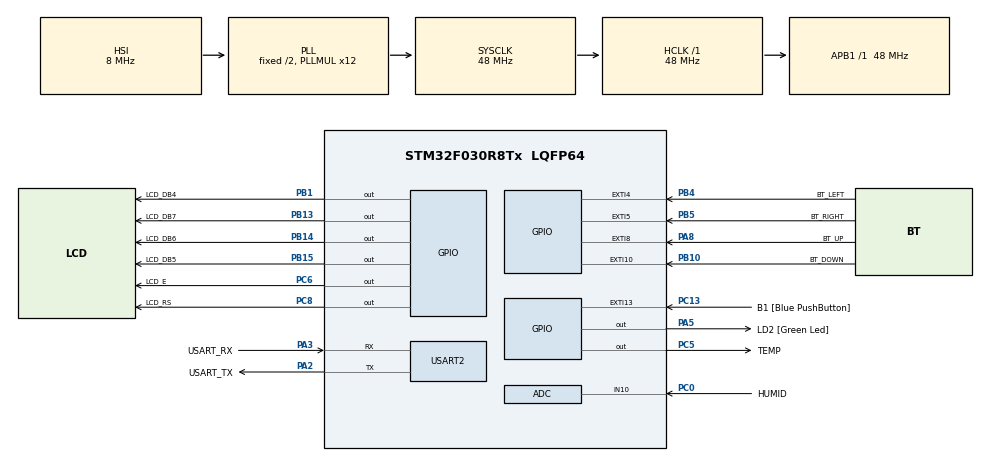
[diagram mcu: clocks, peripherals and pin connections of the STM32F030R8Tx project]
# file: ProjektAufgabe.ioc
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ADC.ContinuousConvMode=DISABLE
ADC.SamplingTime=ADC_SAMPLETIME_13CYCLES_5
Mcu.Family=STM32F0
Mcu.Name=STM32F030R8Tx
Mcu.Package=LQFP64
NVIC.EXTI4_15_IRQn=true\:0\:0\:false\:false\:true\:true\:true
NVIC.TIM6_IRQn=true\:0\:0\:false\:false\:true\:true\:true
PA13.GPIO_Label=TMS
PA13.Mode=Serial_Wire
PA13.Signal=SYS_SWDIO
PA14.GPIO_Label=TCK
PA14.Mode=Serial_Wire
PA14.Signal=SYS_SWCLK
PA2.GPIO_Label=USART_TX
PA2.GPIO_Mode=GPIO_MODE_AF_PP
PA2.GPIO_PuPd=GPIO_NOPULL
PA2.GPIO_Speed=GPIO_SPEED_FREQ_LOW
PA2.Mode=Asynchronous
PA2.Signal=USART2_TX
PA3.GPIO_Label=USART_RX
PA3.GPIO_Mode=GPIO_MODE_AF_PP
PA3.GPIO_PuPd=GPIO_NOPULL
PA3.GPIO_Speed=GPIO_SPEED_FREQ_LOW
PA3.Mode=Asynchronous
PA3.Signal=USART2_RX
PA5.GPIO_Label=LD2 [Green Led]
PA5.GPIO_Mode=GPIO_MODE_OUTPUT_PP
PA5.GPIO_PuPd=GPIO_NOPULL
PA5.GPIO_Speed=GPIO_SPEED_FREQ_LOW
PA5.Signal=GPIO_Output
PA8.GPIO_Label=BT_UP
PA8.GPIO_PuPd=GPIO_PULLDOWN
PA8.Signal=GPXTI8
PB1.GPIO_Label=LCD_DB4
PB1.Signal=GPIO_Output
PB10.GPIO_Label=BT_DOWN
PB10.GPIO_PuPd=GPIO_PULLDOWN
PB10.Signal=GPXTI10
PB13.GPIO_Label=LCD_DB7
PB13.Signal=GPIO_Output
PB14.GPIO_Label=LCD_DB6
PB14.Signal=GPIO_Output
PB15.GPIO_Label=LCD_DB5
PB15.Signal=GPIO_Output
PB4.GPIO_Label=BT_LEFT
PB4.GPIO_PuPd=GPIO_PULLDOWN
PB4.Signal=GPXTI4
PB5.GPIO_Label=BT_RIGHT
PB5.GPIO_PuPd=GPIO_PULLDOWN
PB5.Signal=GPXTI5
PC0.GPIO_Label=HUMID
PC0.Signal=SharedAnalog_PC0
PC13.GPIO_Label=B1 [Blue PushButton]
PC13.GPIO_ModeDefaultEXTI=GPIO_MODE_IT_FALLING
PC13.Signal=GPXTI13
PC14-OSC32_IN.Mode=LSE-External-Oscillator
PC14-OSC32_IN.Signal=RCC_OSC32_IN
PC15-OSC32_OUT.Mode=LSE-External-Oscillator
PC15-OSC32_OUT.Signal=RCC_OSC32_OUT
PC5.GPIO_Label=TEMP
PC5.PinState=GPIO_PIN_SET
PC5.Signal=GPIO_Output
PC6.GPIO_Label=LCD_E
PC6.Signal=GPIO_Output
PC8.GPIO_Label=LCD_RS
PC8.Signal=GPIO_Output
PF0-OSC_IN.Mode=HSE-External-Clock-Source
PF0-OSC_IN.Signal=RCC_OSC_IN
PF1-OSC_OUT.Signal=RCC_OSC_OUT
ProjectManager.HeapSize=0x200
ProjectManager.StackSize=0x400
ProjectManager.TargetToolchain=SW4STM32
RCC.AHBFreq_Value=48000000
RCC.APB1Freq_Value=48000000
RCC.APB1TimFreq_Value=48000000
RCC.HCLKFreq_Value=48000000
RCC.PLLMUL=RCC_PLL_MUL12
RCC.SYSCLKFreq_VALUE=48000000
RCC.SYSCLKSource=RCC_SYSCLKSOURCE_PLLCLK
SH.SharedAnalog_PC0.0=GPIO_Analog
SH.SharedAnalog_PC0.1=ADC_IN10,IN10
TIM14.AutoReloadPreload=TIM_AUTORELOAD_PRELOAD_DISABLE
TIM14.Period=0xFFFE
TIM14.Prescaler=47
TIM6.AutoReloadPreload=TIM_AUTORELOAD_PRELOAD_DISABLE
TIM6.Period=999
TIM6.Prescaler=47999
USART2.VirtualMode-Asynchronous=VM_ASYNC
VP_TIM14_VS_ClockSourceINT.Mode=Enable_Timer
VP_TIM6_VS_ClockSourceINT.Mode=Enable_Timer
board=NUCLEO-F030R8

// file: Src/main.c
/* USER CODE BEGIN Header */
/**
  ******************************************************************************
  * @Author			: Dmitrij Bauer
  * @file           : main.c
  * @brief          : Main program body
  ******************************************************************************
  * @attention
  *
  * <h2><center>&copy; Copyright (c) 2019 STMicroelectronics.
  * All rights reserved.</center></h2>
  *
  * This software component is licensed by ST under BSD 3-Clause license,
  * the "License"; You may not use this file except in compliance with the
  * License. You may obtain a copy of the License at:
  *                        opensource.org/licenses/BSD-3-Clause
  *
  ******************************************************************************
  */
/* USER CODE END Header */

#include "main.h"

/* USER CODE BEGIN Includes */
#include "lcdDisplay.h"
#include "controller.h"
#include "utils.h"
#include "oneWire.h"
/* USER CODE END Includes */

/* USER CODE BEGIN PD */
/**Anzahl der ms, die bis zum nächsten Tastendruck gewartet werden soll.*/
#define DEBOUNCE_INTERVAL 250

/**
 * Maximal Anzahl von ms, die beim Auslesen des ADC-Wertes gewartet werden soll.
 */
#define ADC_POLLING 10
/* USER CODE END PD */

/* USER CODE BEGIN PM */
/**
 * Bestimmt ob eine Taste wieder bereit ist.
 * @param currentTick	Anzahl der ms, die das System bereits läuft (>=0).
 * @param lastTick		Anzahl der ms, die beim letzten Tastendruck registriert wurden (>=0).
 * @return True, falls die tasten wieder aktiv ist. False andernfalls.
 */
#define BTN_IS_READY(currentTick, lastTick)((currentTick - lastTick) >= DEBOUNCE_INTERVAL ? True : False)
/* USER CODE END PM */

ADC_HandleTypeDef hadc;

TIM_HandleTypeDef htim6;
TIM_HandleTypeDef htim14;

UART_HandleTypeDef huart2;
/* USER CODE BEGIN PV */
Controller controller = {0};			//interner Zustand der Messtation
uint32_t adcResolution;					//max. Wert des ADC
/* USER CODE END PV */

void SystemClock_Config(void);
static void MX_GPIO_Init(void);
static void MX_USART2_UART_Init(void);
static void MX_TIM6_Init(void);
static void MX_TIM14_Init(void);
static void MX_ADC_Init(void);
/* USER CODE BEGIN PFP */

/**********Deklaration von privaten Funktionen**********/

/**
 * Initialisiert den Wert für die Bit-Breite der ADC-Ausgabe.
 * Diese Methode soll erst aufgerufen werden, wenn die Konfiguration des ADC
 * abgeschlossen ist.
 */
static void initADCResolutionValue();

/**
 * Liest den Wert des ADC aus.
 * Diese Methode verwendet beim Auslesen des Wertes aktives Warten,
 * welches das Hauptprogramm für max. <ADC_POLLING> ms blockieren kann.
 */
static uint32_t getAbsADCValue();
/* USER CODE END PFP */

/* USER CODE BEGIN 0 */

/**********Definition von Funktionen**********/

uint8_t HAL_readPin(GpioPin gpioPin){
	GPIO_PinState bit = HAL_GPIO_ReadPin(gpioPin.gpioPort, gpioPin.pin);
	if(bit == GPIO_PIN_RESET) return 0;
	else return 1;
}

void HAL_pinToOutput(GpioPin gpioPin){
	GPIO_InitTypeDef GPIO_InitStruct = {0};
	GPIO_InitStruct.Pin = gpioPin.pin;
	GPIO_InitStruct.Mode = GPIO_MODE_OUTPUT_PP;
	GPIO_InitStruct.Pull = GPIO_NOPULL;
	GPIO_InitStruct.Speed = GPIO_SPEED_FREQ_LOW;
	HAL_GPIO_Init(gpioPin.gpioPort, &GPIO_InitStruct);
}

void HAL_pinToInput(GpioPin gpioPin){
	GPIO_InitTypeDef GPIO_InitStruct = {0};
	GPIO_InitStruct.Pin = gpioPin.pin;
	GPIO_InitStruct.Mode = GPIO_MODE_INPUT;
	GPIO_InitStruct.Pull = GPIO_NOPULL;
	HAL_GPIO_Init(gpioPin.gpioPort, &GPIO_InitStruct);
}

void UART_log(char buffer[]){
	HAL_UART_Transmit(&huart2, (uint8_t*) buffer, strlen((char*)buffer), HAL_MAX_DELAY);
}

void waitUs(uint16_t us){
	__HAL_TIM_SET_COUNTER(&htim14, 0);
	while((__HAL_TIM_GET_COUNTER(&htim14)) < us);
}

void initTimer(){
	HAL_TIM_Base_Start_IT(&htim6); // Enable the timer
}

uint32_t getAbsADCValue(){
	HAL_ADC_Start(&hadc);
	HAL_ADC_PollForConversion(&hadc, ADC_POLLING);
	uint32_t value = HAL_ADC_GetValue(&hadc);
	HAL_ADC_Stop(&hadc);
	return value;
}

uint8_t getRelADCValue(){
	return PERCENT(getAbsADCValue(), adcResolution);
}

void initADCResolutionValue(){
	switch (hadc.Init.Resolution) {
		case ADC_RESOLUTION_6B:
			adcResolution = 64;
			break;
		case ADC_RESOLUTION_8B:
			adcResolution = 256;
			break;
		case ADC_RESOLUTION_10B:
			adcResolution = 1024;
			break;
		case ADC_RESOLUTION_12B:
			adcResolution = 4096;
			break;
		default:
			adcResolution = 4096;
			break;
	}
}

void HAL_setPin(GpioPin pin, uint8_t bit){
	switch (bit) {
		case 1:
			HAL_GPIO_WritePin(pin.gpioPort, pin.pin, GPIO_PIN_SET);
			break;
		case 0:
			HAL_GPIO_WritePin(pin.gpioPort, pin.pin, GPIO_PIN_RESET);
			break;
		default:
			break;
	}
}
/* USER CODE END 0 */

int main(void)
{
  /* USER CODE BEGIN 1 */
  //Initialisiere die Pin-Schnittstelle
  GpioPin db4Pin = {LCD_DB4_Pin, LCD_DB4_GPIO_Port};
  GpioPin db5Pin = {LCD_DB5_Pin, LCD_DB5_GPIO_Port};
  GpioPin db6Pin = {LCD_DB6_Pin, LCD_DB6_GPIO_Port};
  GpioPin db7Pin = {LCD_DB7_Pin, LCD_DB7_GPIO_Port};
  GpioPin ePin = {LCD_E_Pin, LCD_E_GPIO_Port};
  GpioPin rsPin = {LCD_RS_Pin, LCD_RS_GPIO_Port};
  GpioPin tempPin = {TEMP_Pin, TEMP_GPIO_Port};
  pinInterface.dataPins[0] = db4Pin;
  pinInterface.dataPins[1] = db5Pin;
  pinInterface.dataPins[2] = db6Pin;
  pinInterface.dataPins[3] = db7Pin;
  pinInterface.ePin = ePin;
  pinInterface.rsPin = rsPin;
  pinInterface.tempPin = tempPin;
  /* USER CODE END 1 */

  /* MCU Configuration--------------------------------------------------------*/

  /* Reset of all peripherals, Initializes the Flash interface and the Systick. */
  HAL_Init();

  /* Configure the system clock */
  SystemClock_Config();

  /* Initialize all configured peripherals */
  MX_GPIO_Init();
  MX_USART2_UART_Init();
  MX_TIM6_Init();
  MX_TIM14_Init();
  MX_ADC_Init();
  /* USER CODE BEGIN 2 */

  //Initialisiere alle Komponente der Messstation.
  initADCResolutionValue();
  HAL_TIM_Base_Start(&htim14); // Enable the us-timer
  initLcdDisplay();
  initController(&controller);
  /* USER CODE END 2 */
  /* Infinite loop */
  /* USER CODE BEGIN WHILE */
  while (1)
  {
	  update(&controller);		//Prüft und ändert ggf. den internen Zustand der Messstation.
    /* USER CODE END WHILE */

    /* USER CODE BEGIN 3 */
  }

  HAL_TIM_Base_Stop(&htim14);
  HAL_TIM_Base_Stop_IT(&htim6);
  /* USER CODE END 3 */
}

void SystemClock_Config(void)
{
  RCC_OscInitTypeDef RCC_OscInitStruct = {0};
  RCC_ClkInitTypeDef RCC_ClkInitStruct = {0};

  /** Initializes the CPU, AHB and APB busses clocks
  */
  RCC_OscInitStruct.OscillatorType = RCC_OSCILLATORTYPE_HSI|RCC_OSCILLATORTYPE_HSI14;
  RCC_OscInitStruct.HSIState = RCC_HSI_ON;
  RCC_OscInitStruct.HSI14State = RCC_HSI14_ON;
  RCC_OscInitStruct.HSICalibrationValue = RCC_HSICALIBRATION_DEFAULT;
  RCC_OscInitStruct.HSI14CalibrationValue = 16;
  RCC_OscInitStruct.PLL.PLLState = RCC_PLL_ON;
  RCC_OscInitStruct.PLL.PLLSource = RCC_PLLSOURCE_HSI;
  RCC_OscInitStruct.PLL.PLLMUL = RCC_PLL_MUL12;
  RCC_OscInitStruct.PLL.PREDIV = RCC_PREDIV_DIV1;
  if (HAL_RCC_OscConfig(&RCC_OscInitStruct) != HAL_OK)
  {
    Error_Handler();
  }
  /** Initializes the CPU, AHB and APB busses clocks
  */
  RCC_ClkInitStruct.ClockType = RCC_CLOCKTYPE_HCLK|RCC_CLOCKTYPE_SYSCLK
                              |RCC_CLOCKTYPE_PCLK1;
  RCC_ClkInitStruct.SYSCLKSource = RCC_SYSCLKSOURCE_PLLCLK;
  RCC_ClkInitStruct.AHBCLKDivider = RCC_SYSCLK_DIV1;
  RCC_ClkInitStruct.APB1CLKDivider = RCC_HCLK_DIV1;

  if (HAL_RCC_ClockConfig(&RCC_ClkInitStruct, FLASH_LATENCY_1) != HAL_OK)
  {
    Error_Handler();
  }
}

static void MX_ADC_Init(void)
{

  ADC_ChannelConfTypeDef sConfig = {0};

  /** Configure the global features of the ADC (Clock, Resolution, Data Alignment and number of conversion)
  */
  hadc.Instance = ADC1;
  hadc.Init.ClockPrescaler = ADC_CLOCK_ASYNC_DIV1;
  hadc.Init.Resolution = ADC_RESOLUTION_12B;
  hadc.Init.DataAlign = ADC_DATAALIGN_RIGHT;
  hadc.Init.ScanConvMode = ADC_SCAN_DIRECTION_FORWARD;
  hadc.Init.EOCSelection = ADC_EOC_SINGLE_CONV;
  hadc.Init.LowPowerAutoWait = DISABLE;
  hadc.Init.LowPowerAutoPowerOff = DISABLE;
  hadc.Init.ContinuousConvMode = DISABLE;
  hadc.Init.DiscontinuousConvMode = DISABLE;
  hadc.Init.ExternalTrigConv = ADC_SOFTWARE_START;
  hadc.Init.ExternalTrigConvEdge = ADC_EXTERNALTRIGCONVEDGE_NONE;
  hadc.Init.DMAContinuousRequests = DISABLE;
  hadc.Init.Overrun = ADC_OVR_DATA_PRESERVED;
  if (HAL_ADC_Init(&hadc) != HAL_OK)
  {
    Error_Handler();
  }
  /** Configure for the selected ADC regular channel to be converted.
  */
  sConfig.Channel = ADC_CHANNEL_10;
  sConfig.Rank = ADC_RANK_CHANNEL_NUMBER;
  sConfig.SamplingTime = ADC_SAMPLETIME_13CYCLES_5;
  if (HAL_ADC_ConfigChannel(&hadc, &sConfig) != HAL_OK)
  {
    Error_Handler();
  }

}

static void MX_TIM6_Init(void)
{

  htim6.Instance = TIM6;
  htim6.Init.Prescaler = 47999;
  htim6.Init.CounterMode = TIM_COUNTERMODE_UP;
  htim6.Init.Period = 999;
  htim6.Init.AutoReloadPreload = TIM_AUTORELOAD_PRELOAD_DISABLE;
  if (HAL_TIM_Base_Init(&htim6) != HAL_OK)
  {
    Error_Handler();
  }

}

static void MX_TIM14_Init(void)
{

  htim14.Instance = TIM14;
  htim14.Init.Prescaler = 47;
  htim14.Init.CounterMode = TIM_COUNTERMODE_UP;
  htim14.Init.Period = 0xFFFE;
  htim14.Init.ClockDivision = TIM_CLOCKDIVISION_DIV1;
  htim14.Init.AutoReloadPreload = TIM_AUTORELOAD_PRELOAD_DISABLE;
  if (HAL_TIM_Base_Init(&htim14) != HAL_OK)
  {
    Error_Handler();
  }

}

static void MX_USART2_UART_Init(void)
{

  huart2.Instance = USART2;
  huart2.Init.BaudRate = 38400;
  huart2.Init.WordLength = UART_WORDLENGTH_8B;
  huart2.Init.StopBits = UART_STOPBITS_1;
  huart2.Init.Parity = UART_PARITY_NONE;
  huart2.Init.Mode = UART_MODE_TX_RX;
  huart2.Init.HwFlowCtl = UART_HWCONTROL_NONE;
  huart2.Init.OverSampling = UART_OVERSAMPLING_16;
  huart2.Init.OneBitSampling = UART_ONE_BIT_SAMPLE_DISABLE;
  huart2.AdvancedInit.AdvFeatureInit = UART_ADVFEATURE_NO_INIT;
  if (HAL_UART_Init(&huart2) != HAL_OK)
  {
    Error_Handler();
  }

}

static void MX_GPIO_Init(void)
{
  GPIO_InitTypeDef GPIO_InitStruct = {0};

  /* GPIO Ports Clock Enable */
  __HAL_RCC_GPIOC_CLK_ENABLE();
  __HAL_RCC_GPIOF_CLK_ENABLE();
  __HAL_RCC_GPIOA_CLK_ENABLE();
  __HAL_RCC_GPIOB_CLK_ENABLE();
  __HAL_RCC_GPIOD_CLK_ENABLE();

  /*Configure GPIO pin Output Level */
  HAL_GPIO_WritePin(LD2_GPIO_Port, LD2_Pin, GPIO_PIN_RESET);

  /*Configure GPIO pin Output Level */
  HAL_GPIO_WritePin(TEMP_GPIO_Port, TEMP_Pin, GPIO_PIN_SET);

  /*Configure GPIO pin Output Level */
  HAL_GPIO_WritePin(GPIOB, LCD_DB4_Pin|LCD_DB7_Pin|LCD_DB6_Pin|LCD_DB5_Pin, GPIO_PIN_RESET);

  /*Configure GPIO pin Output Level */
  HAL_GPIO_WritePin(GPIOC, LCD_E_Pin|LCD_RS_Pin, GPIO_PIN_RESET);

  /*Configure GPIO pin : B1_Pin */
  GPIO_InitStruct.Pin = B1_Pin;
  GPIO_InitStruct.Mode = GPIO_MODE_IT_FALLING;
  GPIO_InitStruct.Pull = GPIO_NOPULL;
  HAL_GPIO_Init(B1_GPIO_Port, &GPIO_InitStruct);

  /*Configure GPIO pins : HUMID_Pin PC1 PC2 PC3
                           PC4 PC7 PC9 PC10
                           PC11 PC12 */
  GPIO_InitStruct.Pin = HUMID_Pin|GPIO_PIN_1|GPIO_PIN_2|GPIO_PIN_3
                          |GPIO_PIN_4|GPIO_PIN_7|GPIO_PIN_9|GPIO_PIN_10
                          |GPIO_PIN_11|GPIO_PIN_12;
  GPIO_InitStruct.Mode = GPIO_MODE_ANALOG;
  GPIO_InitStruct.Pull = GPIO_NOPULL;
  HAL_GPIO_Init(GPIOC, &GPIO_InitStruct);

  /*Configure GPIO pins : PA0 PA1 PA4 PA6
                           PA7 PA9 PA10 PA11
                           PA12 PA15 */
  GPIO_InitStruct.Pin = GPIO_PIN_0|GPIO_PIN_1|GPIO_PIN_4|GPIO_PIN_6
                          |GPIO_PIN_7|GPIO_PIN_9|GPIO_PIN_10|GPIO_PIN_11
                          |GPIO_PIN_12|GPIO_PIN_15;
  GPIO_InitStruct.Mode = GPIO_MODE_ANALOG;
  GPIO_InitStruct.Pull = GPIO_NOPULL;
  HAL_GPIO_Init(GPIOA, &GPIO_InitStruct);

  /*Configure GPIO pins : PF4 PF5 PF6 PF7 */
  GPIO_InitStruct.Pin = GPIO_PIN_4|GPIO_PIN_5|GPIO_PIN_6|GPIO_PIN_7;
  GPIO_InitStruct.Mode = GPIO_MODE_ANALOG;
  GPIO_InitStruct.Pull = GPIO_NOPULL;
  HAL_GPIO_Init(GPIOF, &GPIO_InitStruct);

  /*Configure GPIO pin : LD2_Pin */
  GPIO_InitStruct.Pin = LD2_Pin;
  GPIO_InitStruct.Mode = GPIO_MODE_OUTPUT_PP;
  GPIO_InitStruct.Pull = GPIO_NOPULL;
  GPIO_InitStruct.Speed = GPIO_SPEED_FREQ_LOW;
  HAL_GPIO_Init(LD2_GPIO_Port, &GPIO_InitStruct);

  /*Configure GPIO pins : TEMP_Pin LCD_E_Pin LCD_RS_Pin */
  GPIO_InitStruct.Pin = TEMP_Pin|LCD_E_Pin|LCD_RS_Pin;
  GPIO_InitStruct.Mode = GPIO_MODE_OUTPUT_PP;
  GPIO_InitStruct.Pull = GPIO_NOPULL;
  GPIO_InitStruct.Speed = GPIO_SPEED_FREQ_LOW;
  HAL_GPIO_Init(GPIOC, &GPIO_InitStruct);

  /*Configure GPIO pins : PB0 PB2 PB11 PB12
                           PB3 PB6 PB7 PB8
                           PB9 */
  GPIO_InitStruct.Pin = GPIO_PIN_0|GPIO_PIN_2|GPIO_PIN_11|GPIO_PIN_12
                          |GPIO_PIN_3|GPIO_PIN_6|GPIO_PIN_7|GPIO_PIN_8
                          |GPIO_PIN_9;
  GPIO_InitStruct.Mode = GPIO_MODE_ANALOG;
  GPIO_InitStruct.Pull = GPIO_NOPULL;
  HAL_GPIO_Init(GPIOB, &GPIO_InitStruct);

  /*Configure GPIO pins : LCD_DB4_Pin LCD_DB7_Pin LCD_DB6_Pin LCD_DB5_Pin */
  GPIO_InitStruct.Pin = LCD_DB4_Pin|LCD_DB7_Pin|LCD_DB6_Pin|LCD_DB5_Pin;
  GPIO_InitStruct.Mode = GPIO_MODE_OUTPUT_PP;
  GPIO_InitStruct.Pull = GPIO_NOPULL;
  GPIO_InitStruct.Speed = GPIO_SPEED_FREQ_LOW;
  HAL_GPIO_Init(GPIOB, &GPIO_InitStruct);

  /*Configure GPIO pins : BT_DOWN_Pin BT_LEFT_Pin BT_RIGHT_Pin */
  GPIO_InitStruct.Pin = BT_DOWN_Pin|BT_LEFT_Pin|BT_RIGHT_Pin;
  GPIO_InitStruct.Mode = GPIO_MODE_IT_RISING;
  GPIO_InitStruct.Pull = GPIO_PULLDOWN;
  HAL_GPIO_Init(GPIOB, &GPIO_InitStruct);

  /*Configure GPIO pin : BT_UP_Pin */
  GPIO_InitStruct.Pin = BT_UP_Pin;
  GPIO_InitStruct.Mode = GPIO_MODE_IT_RISING;
  GPIO_InitStruct.Pull = GPIO_PULLDOWN;
  HAL_GPIO_Init(BT_UP_GPIO_Port, &GPIO_InitStruct);

  /*Configure GPIO pin : PD2 */
  GPIO_InitStruct.Pin = GPIO_PIN_2;
  GPIO_InitStruct.Mode = GPIO_MODE_ANALOG;
  GPIO_InitStruct.Pull = GPIO_NOPULL;
  HAL_GPIO_Init(GPIOD, &GPIO_InitStruct);

  /* EXTI interrupt init*/
  HAL_NVIC_SetPriority(EXTI4_15_IRQn, 0, 0);
  HAL_NVIC_EnableIRQ(EXTI4_15_IRQn);

}

/* USER CODE BEGIN 4 */
void HAL_GPIO_EXTI_Callback(uint16_t GPIO_PIN){
	static uint32_t lastTick = 0;
	uint32_t currentTick = HAL_GetTick();
	if(BTN_IS_READY(currentTick, lastTick) == True){
		lastTick = currentTick;
		switch (GPIO_PIN) {
			case BT_UP_Pin:
				onButtonPressed(&controller.btnHandler, UP);
				break;
			case BT_DOWN_Pin:
				onButtonPressed(&controller.btnHandler, DOWN);
				break;
			case BT_RIGHT_Pin:
				onButtonPressed(&controller.btnHandler, RIGHT);
				break;
			case BT_LEFT_Pin:
				onButtonPressed(&controller.btnHandler, LEFT);
				break;
			default:
				break;
		}
	}
}

void HAL_TIM_PeriodElapsedCallback(TIM_HandleTypeDef *htim){
	if(htim == &htim6) onTimerUpdate(&controller);
}

/* USER CODE END 4 */

void Error_Handler(void)
{
}

/************************ (C) COPYRIGHT STMicroelectronics *****END OF FILE****/
